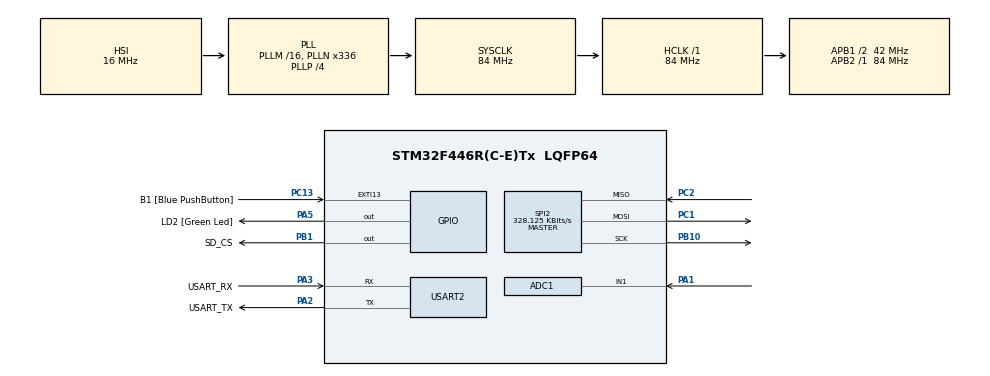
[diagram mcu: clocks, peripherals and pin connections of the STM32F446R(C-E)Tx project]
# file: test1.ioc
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ADC1.Channel-3\#ChannelRegularConversion=ADC_CHANNEL_1
ADC1.ContinuousConvMode=DISABLE
ADC1.DMAContinuousRequests=ENABLE
ADC1.ExternalTrigConv=ADC_EXTERNALTRIGCONV_T2_TRGO
ADC1.NbrOfConversionFlag=1
ADC1.Rank-3\#ChannelRegularConversion=1
ADC1.SamplingTime-3\#ChannelRegularConversion=ADC_SAMPLETIME_3CYCLES
ADC1.ScanConvMode=ENABLE
ADC1.master=1
Dma.ADC1.0.Direction=DMA_PERIPH_TO_MEMORY
Dma.ADC1.0.FIFOMode=DMA_FIFOMODE_DISABLE
Dma.ADC1.0.Instance=DMA2_Stream0
Dma.ADC1.0.MemDataAlignment=DMA_MDATAALIGN_HALFWORD
Dma.ADC1.0.MemInc=DMA_MINC_ENABLE
Dma.ADC1.0.Mode=DMA_CIRCULAR
Dma.ADC1.0.PeriphDataAlignment=DMA_PDATAALIGN_HALFWORD
Dma.ADC1.0.PeriphInc=DMA_PINC_DISABLE
Dma.ADC1.0.Priority=DMA_PRIORITY_LOW
Dma.Request0=ADC1
Mcu.Family=STM32F4
Mcu.Name=STM32F446R(C-E)Tx
Mcu.Package=LQFP64
NVIC.DMA2_Stream0_IRQn=true\:0\:0\:false\:false\:true\:false\:true\:true
NVIC.PriorityGroup=NVIC_PRIORITYGROUP_0
NVIC.USART2_IRQn=true\:0\:0\:false\:false\:true\:true\:true\:true
PA1.Signal=ADCx_IN1
PA13.GPIO_Label=TMS
PA13.Mode=Serial_Wire
PA13.Signal=SYS_JTMS-SWDIO
PA14.GPIO_Label=TCK
PA14.Mode=Serial_Wire
PA14.Signal=SYS_JTCK-SWCLK
PA2.GPIO_Label=USART_TX
PA2.Mode=Asynchronous
PA2.Signal=USART2_TX
PA3.GPIO_Label=USART_RX
PA3.Mode=Asynchronous
PA3.Signal=USART2_RX
PA5.GPIO_Label=LD2 [Green Led]
PA5.Signal=GPIO_Output
PB1.GPIO_Label=SD_CS
PB1.Signal=GPIO_Output
PB10.Mode=Full_Duplex_Master
PB10.Signal=SPI2_SCK
PB3.GPIO_Label=SWO
PB3.Signal=SYS_JTDO-SWO
PC1.Mode=Full_Duplex_Master
PC1.Signal=SPI2_MOSI
PC13.GPIO_Label=B1 [Blue PushButton]
PC13.GPIO_ModeDefaultEXTI=GPIO_MODE_IT_FALLING
PC13.Signal=GPXTI13
PC14-OSC32_IN.Mode=LSE-External-Oscillator
PC14-OSC32_IN.Signal=RCC_OSC32_IN
PC15-OSC32_OUT.Mode=LSE-External-Oscillator
PC15-OSC32_OUT.Signal=RCC_OSC32_OUT
PC2.Mode=Full_Duplex_Master
PC2.Signal=SPI2_MISO
PH0-OSC_IN.Mode=HSE-External-Oscillator
PH0-OSC_IN.Signal=RCC_OSC_IN
PH1-OSC_OUT.Mode=HSE-External-Oscillator
PH1-OSC_OUT.Signal=RCC_OSC_OUT
ProjectManager.HeapSize=0x200
ProjectManager.StackSize=0x400
ProjectManager.TargetToolchain=STM32CubeIDE
RCC.48MHZClocksFreq_Value=84000000
RCC.AHBFreq_Value=84000000
RCC.APB1CLKDivider=RCC_HCLK_DIV2
RCC.APB1Freq_Value=42000000
RCC.APB1TimFreq_Value=84000000
RCC.APB2Freq_Value=84000000
RCC.APB2TimFreq_Value=84000000
RCC.CortexFreq_Value=84000000
RCC.FLatency-AdvancedSettings=FLASH_LATENCY_2
RCC.HCLKFreq_Value=84000000
RCC.HSE_VALUE=8000000
RCC.HSI_VALUE=16000000
RCC.PLLN=336
RCC.PLLP=RCC_PLLP_DIV4
RCC.SYSCLKFreq_VALUE=84000000
RCC.SYSCLKSource=RCC_SYSCLKSOURCE_PLLCLK
RCC.USBFreq_Value=168000000
RCC.VCOOutputFreq_Value=336000000
SH.ADCx_IN1.0=ADC1_IN1,IN1
SPI2.BaudRatePrescaler=SPI_BAUDRATEPRESCALER_128
SPI2.CalculateBaudRate=328.125 KBits/s
SPI2.Direction=SPI_DIRECTION_2LINES
SPI2.Mode=SPI_MODE_MASTER
SPI2.VirtualType=VM_MASTER
TIM2.AutoReloadPreload=TIM_AUTORELOAD_PRELOAD_ENABLE
TIM2.Period=10499
TIM2.TIM_MasterOutputTrigger=TIM_TRGO_UPDATE
USART2.VirtualMode=VM_ASYNC
VP_FATFS_VS_Generic.Mode=User_defined
VP_TIM2_VS_ClockSourceINT.Mode=Internal
board=NUCLEO-F446RE

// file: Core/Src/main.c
/* USER CODE BEGIN Header */
/**
  ******************************************************************************
  * @file           : main.c
  * @brief          : Main program body
  ******************************************************************************
  * @attention
  *
  * Copyright (c) 2024 STMicroelectronics.
  * Copyright (c) 2025 Mateusz Mroczkowski
  * All rights reserved.
  *
  * This software is licensed under terms that can be found in the LICENSE file
  * in the root directory of this software component.
  * If no LICENSE file comes with this software, it is provided AS-IS.
  *
  ******************************************************************************
  */
/* USER CODE END Header */
#include "main.h"
#include "fatfs.h"

/* USER CODE BEGIN Includes */
#include <string.h>
#include <stdio.h>
#include <stdarg.h>
#include <stdlib.h>
#include <inttypes.h>
/* USER CODE END Includes */

/* USER CODE BEGIN PD */
#define USART_TX_BUFFER_SIZE 1512
#define USART_RX_BUFFER_SIZE 533
#define FRAME_START_CHAR ':'
#define FRAME_END_CHAR ';'
#define FRAME_MAX_LENGTH 271
#define FRAME_ESCAPED_MAX_LENGTH 533
#define FRAME_FIXED_SIZE 15
#define SENDER_LENGTH 3
#define RECEIVER_LENGTH 3
#define CMD_LENGTH_DIGITS 3
#define CRC_LENGTH 4
#define DEVICE_ID "STM"
#define TERMINAL "TERM"

#define ADC_BUFFER_SIZE 1000
#define ADC_HALF_BUFFER_SIZE (ADC_BUFFER_SIZE/2)
/* USER CODE END PD */

ADC_HandleTypeDef hadc1;
DMA_HandleTypeDef hdma_adc1;

SPI_HandleTypeDef hspi2;

TIM_HandleTypeDef htim2;

UART_HandleTypeDef huart2;

/* USER CODE BEGIN PV */
uint8_t usartTransmitBuffer[USART_TX_BUFFER_SIZE];  // Bufor do wysyłania
volatile uint16_t usartTransmitWriteIndex;  // Gdzie zapisujemy nowe dane do wysłania
volatile uint16_t usartTransmitReadIndex;   // Skąd odczytujemy dane do wysłania

uint8_t usartReceiveBuffer[USART_RX_BUFFER_SIZE];  // Bufor na odebrane dane
volatile uint16_t usartReceiveWriteIndex;  // Gdzie zapisujemy odebrane dane
volatile uint16_t usartReceiveReadIndex;   // Skąd odczytujemy odebrane dane

uint16_t adcBuffer[ADC_BUFFER_SIZE];  // Bufor na dane z ADC
volatile uint8_t adcBufferHalfReady = 0;  // Flaga pierwszej połowy bufora
volatile uint8_t adcBufferFullReady = 0;  // Flaga drugiej połowy bufora

FATFS FatFs;  // struktura do systemu plików FAT
FIL fil;      // do operacji na pojedynczych plikach
FRESULT fres; // do wyników operacji

volatile uint8_t fileOpenForWrite = 0;  // flaga pokazująca czy plik jest otwarty do zapisywania
FIL writeFile;                          // do operacji zapisu
/* USER CODE END PV */

void SystemClock_Config(void);
static void MX_GPIO_Init(void);
static void MX_DMA_Init(void);
static void MX_USART2_UART_Init(void);
static void MX_ADC1_Init(void);
static void MX_TIM2_Init(void);
static void MX_SPI2_Init(void);
/* USER CODE BEGIN PFP */
uint16_t calculateCRC16(const char* data, uint16_t length);
void sendFormattedUsart(char* format, ...);
uint16_t addEscapedChar(char* buffer, uint16_t position, char character);
void sendFrameResponse(const char* data, uint16_t dataLength, const char* receiver);
uint16_t calculateMaxEscapedLength(const char* data, uint16_t dataLength, const char* sender, const char* receiver);
void handleGetCommand(const char* sender);
uint8_t checkAndAddToBuffer(uint8_t* buffer, uint16_t* index, uint8_t* frameFound, uint8_t data);
uint8_t isValidName(const char* name);
void handleShowStatus(const char* sender);
void handleListCommand(const char* data, uint16_t dataLen, const char* sender);
void handleMkdirCommand(const char* data, uint16_t dataLen, const char* sender);
uint16_t convertCmdLength(const char* lengthStr);
void handleRemoveCommand(const char* data, uint16_t dataLen, const char* sender);
void handleMkfileCommand(const char* data, uint16_t dataLen, const char* sender);
void handleReadCommand(const char* data, uint16_t dataLen, const char* sender);
void handleWriteCommand(const char* data, uint16_t dataLen, const char* sender);
void handleSendCommand(const char* data, uint16_t dataLen, const char* sender);
/* USER CODE END PFP */

/* USER CODE BEGIN 0 */

typedef struct {
    char sender[SENDER_LENGTH + 1];        // 3 chars + null terminator
    char receiver[RECEIVER_LENGTH + 1];    // 3 chars + null terminator
    char cmdLength[CMD_LENGTH_DIGITS + 1]; // 3 digits + null terminator
    char* data;                            // Dane (dynamicznie alokowany)
    char crc[CRC_LENGTH + 1];              // 4 hex + null terminator
} Frame;

void HAL_UART_TxCpltCallback(UART_HandleTypeDef *huart) {
	// Sprawdza czy przerwanie dotyczy właściwego UART-a
    if(huart == &huart2) {
    	// Sprawdzenie czy są dane do wysłania
    	// Jeśli indeksy są różne, oznacza to że w buforze są jeszcze dane do wysłania
        if(usartTransmitWriteIndex != usartTransmitReadIndex) {
        	// Pobranie następnego znaku
            uint8_t nextChar = usartTransmitBuffer[usartTransmitReadIndex];
            // Zwiększa indeks odczytu
            usartTransmitReadIndex++;
            // Jeśli indeks doszedł do końca bufora, wraca na początek
            if(usartTransmitReadIndex >= USART_TX_BUFFER_SIZE) {
                usartTransmitReadIndex = 0;
            }
            // Wysyłanie znaku
            HAL_UART_Transmit_IT(&huart2, &nextChar, 1);
        }
    }
}

void HAL_UART_RxCpltCallback(UART_HandleTypeDef *huart) {
	//Sprawdza czy przerwanie dotyczy właściwego UART-a
    if(huart == &huart2) {
    	// Zwiększa indeks zapisu dla kolejnego znaku
        usartReceiveWriteIndex++;
        // Jeśli indeks osiągnie koniec bufora, wraca na początek
        if(usartReceiveWriteIndex >= USART_RX_BUFFER_SIZE) {
            usartReceiveWriteIndex = 0;
        }
        // Uruchomienie odbioru następnego znaku
        HAL_UART_Receive_IT(&huart2, &usartReceiveBuffer[usartReceiveWriteIndex], 1);
    }
}

// Funkcja sprawdzająca czy w buforze odbiorczym (RX) są dostępne jakieś dane do odczytania:
uint8_t isUsartDataAvailable() {
    return (usartReceiveWriteIndex != usartReceiveReadIndex);
    // Zwraca 1 (true) gdy indeksy są różne - oznacza to że są nowe, nieodczytane dane w buforze
    // Zwraca 0 (false) gdy indeksy są równe - oznacza to że nie ma nowych danych
}

int16_t readUsartChar() {
    uint8_t receivedChar;
    if(isUsartDataAvailable()) {
    	// Odczytuje znak z bufora pod aktualnym indeksem odczytu
        receivedChar = usartReceiveBuffer[usartReceiveReadIndex];
        // Zwiększa indeks odczytu
        usartReceiveReadIndex++;
        // Jeśli indeks doszedł do końca bufora, wraca na początek
        if(usartReceiveReadIndex >= USART_RX_BUFFER_SIZE) {
            usartReceiveReadIndex = 0;
        }
        return receivedChar;
    }
    // Jeśli nie ma danych do odczytu, zwraca -1, sygnalizuje brak danych
    return -1;
}

// static zachowuje wartość między wywołaniami funkcji, Zmienna jest inicjalizowana tylko raz

uint16_t readUsartLine(char *outputBuffer) {
    static uint8_t lineBuffer[FRAME_MAX_LENGTH];
    static uint16_t bufferIndex = 0;
    static uint8_t frameStartFound = 0;
    static uint8_t escapeNext = 0;

    while(isUsartDataAvailable()) {
        int16_t receivedChar = readUsartChar();

        // Zawsze sprawdzamy początek ramki
        if(receivedChar == FRAME_START_CHAR) {
            bufferIndex = 0;
            frameStartFound = 1;
            escapeNext = 0;
            if(checkAndAddToBuffer(lineBuffer, &bufferIndex, &frameStartFound, receivedChar)) continue;
            continue;
        }

        if(!frameStartFound) {
            continue;
        }

        // Obsługa escape
        if(escapeNext) {
            char actualChar;
            switch(receivedChar) {
                case '1': actualChar = ':'; break;
                case '2': actualChar = ';'; break;
                case '3': actualChar = '/'; break;
                default:
                    frameStartFound = 0;  // Nieprawidłowa sekwencja escape
                    escapeNext = 0;
                    continue;
            }
            if(checkAndAddToBuffer(lineBuffer, &bufferIndex, &frameStartFound, actualChar)) continue;
            escapeNext = 0;
            continue;
        }

        if(receivedChar == '/') {
            escapeNext = 1;
            continue;
        }

        if(checkAndAddToBuffer(lineBuffer, &bufferIndex, &frameStartFound, receivedChar)) continue;

        if(receivedChar == FRAME_END_CHAR) {
            for(uint16_t i = 0; i < bufferIndex; i++) {
                outputBuffer[i] = lineBuffer[i];
            }
            uint16_t frameLength = bufferIndex;
            bufferIndex = 0;
            frameStartFound = 0;
            escapeNext = 0;
            return frameLength;
        }
    }

    return 0;
}

uint8_t checkAndAddToBuffer(uint8_t* buffer, uint16_t* index, uint8_t* frameFound, uint8_t data) {
    buffer[(*index)++] = data;
    if(*index >= FRAME_MAX_LENGTH) {
        *index = 0;
        *frameFound = 0;
        sendFrameResponse("\r\nERR: Buffer overflow\r\n", 24, TERMINAL);
        return 1;
    }
    return 0;
}

// Służy do formatowania i wysyłania danych przez UART, ... oznacza że funkcja może przyjąć zmienną liczbę argumentów
void sendFormattedUsart(char* format, ...) {
	// Tymczasowa tablica do przechowania
    char tempString[USART_TX_BUFFER_SIZE];
    uint16_t i;
    __IO uint16_t writeIndex;
    va_list arguments;
    uint16_t stringLength;

    // Inicjalizuje listę argumentów
    va_start(arguments, format);
    // Formatuje tekst według zadanego formatu i zapisuje go do tempString,
    // vsprintf zwraca liczbę zapisanych znaków (bez null terminatora)
    stringLength = vsprintf(tempString, format, arguments);
    // Kończy pracę z listą argumentów
    va_end(arguments);

    writeIndex = usartTransmitWriteIndex;

    // Kopiuje sformatowany tekst znak po znaku do bufora cyklicznego usartTransmitBuffer
    for(i = 0; i < stringLength; i++) {
        usartTransmitBuffer[writeIndex] = tempString[i];
        writeIndex++;
        // Jeśli dojdzie do końca bufora, wraca na początek
        if(writeIndex >= USART_TX_BUFFER_SIZE) {
            writeIndex = 0;
        }
    }
    // Wyłącza przerwania
    __disable_irq();

    // UART_FLAG_TXE oznacza UART Transmit Data Register Empty
    // Warunek sprawdza czy rejestr wysyłania jest pusty, nie wysyła aktualnie danych i jest gotowy do wysyłania
    if((usartTransmitWriteIndex == usartTransmitReadIndex) &&
       (__HAL_UART_GET_FLAG(&huart2, UART_FLAG_TXE) == SET)) {
    	// Aktualizuje główny indeks zapisu nowymi danymi
        usartTransmitWriteIndex = writeIndex;
        // Pobiera pierwszy znak do wysłania
        uint8_t nextChar = usartTransmitBuffer[usartTransmitReadIndex];
        // Przesuwa indeks odczytu na następną pozycję
        usartTransmitReadIndex++;
        // Sprawdza czy indeks nie przekroczył rozmiaru bufora
        if(usartTransmitReadIndex >= USART_TX_BUFFER_SIZE) {
            usartTransmitReadIndex = 0;
        }
        // Rozpoczyna transmisję pierwszego znaku
        HAL_UART_Transmit_IT(&huart2, &nextChar, 1);
    } else {
    	 // Jeśli transmisja jest w toku lub UART nie jest gotowy, tylko aktualizuje indeks zapisu
        usartTransmitWriteIndex = writeIndex;
    }
    // Włącza z powrotem przerwania po zakończeniu operacji na współdzielonych zmiennych
    __enable_irq();
}

// const jest używane w tej funkcji do ochrony danych przed modyfikacją, można zmienić na co wskazuje ale nie zawartość

uint8_t parseFrame(const char* inputBuffer, uint16_t bufferLength, Frame* frame) {
	uint16_t i;
    const char* frameStart = NULL;  // wskazniki na znaki
    const char* frameEnd = NULL;
    uint16_t dataOffset;
    uint16_t dataLength;
    char frameWithoutCRC[FRAME_MAX_LENGTH];  // Tymczasowy bufor na ramkę bez CRC

    frameStart = &inputBuffer[0];  // Wiemy że to jest ':'
    frameEnd = &inputBuffer[bufferLength - 1];  // Wiemy że to jest ';'

    // Sprawdzenie czy ramka nie jest za długa
    if(bufferLength > FRAME_MAX_LENGTH) {
    	sendFrameResponse("\r\nERR: Frame too long\r\n", 23, TERMINAL);
        return 0;
    }

    // Sprawdzenie minimalnej długości (znak początku + nadawca + odbiorca + długość + CRC + znak końca)
    if(bufferLength < (1 + SENDER_LENGTH + RECEIVER_LENGTH + CMD_LENGTH_DIGITS + CRC_LENGTH + 1)) {
    	sendFrameResponse("\r\nERR: Frame too short\r\n", 24, TERMINAL);
        return 0;
    }

    // Wydobycie crc, zapis do frame, kopiujemy od konca -4, 4 bajty
    memcpy(frame->crc, frameEnd - CRC_LENGTH, CRC_LENGTH);
    frame->crc[CRC_LENGTH] = '\0';

    // Konwersja crc, |= or
    uint16_t receivedCRC = 0;
    for(i = 0; i < CRC_LENGTH; i++) {
        receivedCRC <<= CRC_LENGTH; // przesunięcie o 4 w lewo
        if(frame->crc[i] >= '0' && frame->crc[i] <= '9') {
            receivedCRC |= frame->crc[i] - '0'; // np. 2  czyli 50 - 48 = 2, 0010
        } else if(frame->crc[i] >= 'A' && frame->crc[i] <= 'F') {
            receivedCRC |= frame->crc[i] - 'A' + 10; // np. B czyli 66 - 65 + 10 = 11, 1011
        } else {
        	sendFrameResponse("\r\nERR: CRC conversion\r\n", 23, TERMINAL);
            return 0;
        }
    }

    // Oblicz CRC (bez pola CRC)
    uint16_t dataForCRC = frameEnd - frameStart - CRC_LENGTH;  // odleglosc miedzy wskaznikami, oraz -4
    memcpy(frameWithoutCRC, frameStart, dataForCRC);
    uint16_t calculatedCRC = calculateCRC16(frameWithoutCRC, dataForCRC);

    // Porownanie CRC
    if(calculatedCRC != receivedCRC) {
    	sendFrameResponse("\r\nERR: CRC is wrong\r\n", 21, TERMINAL);
        return 0;
    }

    // Przesunięcie wskaźnika za znak rozpoczynający
    frameStart++;

    // Ekstrakcja nadawcy
    memcpy(frame->sender, frameStart, SENDER_LENGTH);
    frame->sender[SENDER_LENGTH] = '\0';

    // Ekstrakcja odbiorcy
    memcpy(frame->receiver, frameStart + SENDER_LENGTH, RECEIVER_LENGTH);
    frame->receiver[RECEIVER_LENGTH] = '\0';

    // Sprawdzenie czy jesteśmy odbiorcą, zwraca 0 gdy sa takie same, (!=)
    if(memcmp(frame->receiver, DEVICE_ID, RECEIVER_LENGTH) != 0) {
    	sendFrameResponse("\r\nERR: Invalid receiver\r\n", 25, TERMINAL);
        return 0;
    }

    // Ekstrakcja długości komendy podanej przez użytkownika
    memcpy(frame->cmdLength, frameStart + SENDER_LENGTH + RECEIVER_LENGTH, CMD_LENGTH_DIGITS);
    frame->cmdLength[CMD_LENGTH_DIGITS] = '\0';

	// declaredDataLength = 0
	// sprawdź czy '1' jest cyfrą (jest między '0' a '9')
	// '1' - '0' = 1 (ASCII 49 - 48 = 1)
	// declaredDataLength = 0 * 10 + 1 = 1

    // Konwersja długości komendy podanej przez użytkownika na int
    uint16_t declaredDataLength = 0;
    for(i = 0; i < CMD_LENGTH_DIGITS; i++) {
        if(frame->cmdLength[i] < '0' || frame->cmdLength[i] > '9') {
        	sendFrameResponse("\r\nERR: Invalid command length format\r\n", 38, TERMINAL);
            return 0;
        }
        declaredDataLength = declaredDataLength * 10 + (frame->cmdLength[i] - '0');
    }

    // sprawdzenie dlugosci komendy podanej przez użytkownika
    if(declaredDataLength <= 0 || declaredDataLength > 256) {
    	sendFrameResponse("\r\nERR: Invalid command length\r\n", 31, TERMINAL);
        return 0;
    }

    // Oblicz pozycję początku danych i ich długość

    // wskazuje, że dane zaczynają się po 9 znakach od początku (po ':')
    dataOffset = SENDER_LENGTH + RECEIVER_LENGTH + CMD_LENGTH_DIGITS;
    dataLength = frameEnd - (frameStart + dataOffset) - CRC_LENGTH;  // -4

    // Sprawdzenie zgodności długości
    if(dataLength != declaredDataLength) {
    	sendFrameResponse("\r\nERR: Length mismatch\r\n", 24, TERMINAL);
        return 0;
    }

    // malloc() dynamicznie przydziela pamięć o rozmiarze cmdLen + 1 bajtów
	// +1 jest dodane aby zmieścić znak końca stringa '\0'
	// Zwraca wskaźnik do zaalokowanej pamięci
	// (char*) to rzutowanie (casting) zwróconego wskaźnika na typ char*
	// bo malloc zwraca ogólny wskaźnik void*
    // Jest to potrzebne bo frame->data jest zadeklarowane jako char*

    // Alokacja pamięci na dane
    frame->data = (char*)malloc(declaredDataLength + 1);
    // Sprawdza czy alokacja się udała, malloc() zwraca NULL jeśli nie może zaalokować pamięci
    if(!frame->data) {
    	sendFrameResponse("\r\nERR: Memory allocation failed\r\n", 33, TERMINAL);
        return 0;
    }

    // Kopiowanie danych
    memcpy(frame->data, frameStart + dataOffset, declaredDataLength);
    frame->data[declaredDataLength] = '\0';

    return 1;
}

void sendFrameResponse(const char* data, uint16_t dataLength, const char* receiver) {
    char escapedBuffer[FRAME_ESCAPED_MAX_LENGTH];  // bufor na dane escaped
    char unescapedBuffer[FRAME_MAX_LENGTH];    // bufor nie escaped do obliczenia crc
    uint16_t escapedLength = 0;
    uint16_t unescapedLength = 0;
    uint16_t i;

    uint16_t maxLength = calculateMaxEscapedLength(data, dataLength, DEVICE_ID, receiver);
    if(maxLength > FRAME_ESCAPED_MAX_LENGTH) {
        return;
    }

    // Start character w obu buforach
    escapedBuffer[escapedLength++] = FRAME_START_CHAR;
    unescapedBuffer[unescapedLength++] = FRAME_START_CHAR;

    // dodaj sender (DEVICE_ID)
	for(i = 0; i < SENDER_LENGTH; i++) {
		escapedLength = addEscapedChar(escapedBuffer, escapedLength, DEVICE_ID[i]);
		unescapedBuffer[unescapedLength++] = DEVICE_ID[i];
	}

	// dodaj receiver
	for(i = 0; i < RECEIVER_LENGTH; i++) {
		escapedLength = addEscapedChar(escapedBuffer, escapedLength, receiver[i]);
		unescapedBuffer[unescapedLength++] = receiver[i];
	}

    // makro zdefiniowane w nagłówku <inttypes.h>, które służy do zapewnienia przenośnego i bezpiecznego
    // formatowania liczb całkowitych o stałej szerokości, w tym przypadku typu uint16_t

	// %03 wymusza 3 cyfry z wiodącymi zerami

    // dodaj data length
    char lengthStr[4];
    snprintf(lengthStr, 4, "%03" PRIu16, dataLength);
    memcpy(escapedBuffer + escapedLength, lengthStr, 3);
    memcpy(unescapedBuffer + unescapedLength, lengthStr, 3);

    escapedLength += CMD_LENGTH_DIGITS;
    unescapedLength += CMD_LENGTH_DIGITS;

    // dodaj dane
	for(i = 0; i < dataLength; i++) {
		escapedLength = addEscapedChar(escapedBuffer, escapedLength, data[i]);
		unescapedBuffer[unescapedLength++] = data[i];
	}

    // oblicz CRC z unescaped buffer
    uint16_t crc = calculateCRC16(unescapedBuffer, unescapedLength);

    // dodaj crc
    snprintf(escapedBuffer + escapedLength, 5, "%04X", crc);
    escapedLength += CRC_LENGTH;

    // dodaj end character
    escapedBuffer[escapedLength++] = FRAME_END_CHAR;
    escapedBuffer[escapedLength] = '\0';

    sendFormattedUsart("%s", escapedBuffer);
}

uint16_t calculateMaxEscapedLength(const char* data, uint16_t dataLength, const char* sender, const char* receiver) {
    uint16_t maxLength = 1; // znak początku

    // sender
    for(uint8_t i = 0; i < SENDER_LENGTH; i++) {
        if(sender[i] == ':' || sender[i] == ';' || sender[i] == '/') {
            maxLength += 2;
        } else {
            maxLength += 1;
        }
    }

    // receiver
    for(uint8_t i = 0; i < RECEIVER_LENGTH; i++) {
        if(receiver[i] == ':' || receiver[i] == ';' || receiver[i] == '/') {
            maxLength += 2;
        } else {
            maxLength += 1;
        }
    }

    // command length
    maxLength += CMD_LENGTH_DIGITS;

    // data
    for(uint16_t i = 0; i < dataLength; i++) {
        if(data[i] == ':' || data[i] == ';' || data[i] == '/') {
            maxLength += 2;
        } else {
            maxLength += 1;
        }
    }

    // CRC
    maxLength += CRC_LENGTH;

    // znak konca
    maxLength += 1;

    return maxLength;
}

// Funkcja do dodawania znaków z escape
uint16_t addEscapedChar(char* buffer, uint16_t position, char character) {
    if(character == ':') {
        buffer[position++] = '/';
        buffer[position++] = '1';
    }
    else if(character == ';') {
        buffer[position++] = '/';
        buffer[position++] = '2';
    }
    else if(character == '/') {
        buffer[position++] = '/';
        buffer[position++] = '3';
    }
    else {
        buffer[position++] = character;
    }
    return position;
}

void processReceivedLine(char* inputBuffer, uint16_t bufferLength) {
	// utworzenie zmiennej frame
    Frame frame;

    //  wywołuje funkcję parseFrame
    //  &frame - adres utworzonej wcześniej struktury frame (gdzie zostaną zapisane sparsowane dane)
    if(!parseFrame(inputBuffer, bufferLength, &frame)) {
        return;
    }

    if(memcmp(frame.data, "led", 3) == 0) {
        HAL_GPIO_TogglePin(LD2_GPIO_Port, LD2_Pin);
        sendFrameResponse("LED state changed!", 18, frame.sender);
    }
    else if(memcmp(frame.data, "state", 5) == 0) {

    	// '0' w ASCII to 48
    	// Więc jeśli dioda wyłączona (0): 48 + 0 = 48 ('0')
    	// Jeśli dioda włączona (1): 48 + 1 = 49 ('1')
    	// Ten znak zastępuje '0' na pozycji msg[6]

    	char msg[] = "\r\nLED 0\r\n";
    	msg[6] = '0' + HAL_GPIO_ReadPin(LD2_GPIO_Port, LD2_Pin);
    	sendFrameResponse(msg, 9, frame.sender);
    }
    else if(memcmp(frame.data, "get", 3) == 0) {
        handleGetCommand(frame.sender);
    }
    else if(memcmp(frame.data, "status", 6) == 0) {
        handleShowStatus(frame.sender);
    }
    else if(memcmp(frame.data, "ls", 2) == 0) {
    	handleListCommand(frame.data, convertCmdLength(frame.cmdLength), frame.sender);
    }
    else if(memcmp(frame.data, "mkdir", 5) == 0) {
    	handleMkdirCommand(frame.data, convertCmdLength(frame.cmdLength), frame.sender);
    }
    else if(memcmp(frame.data, "rm", 2) == 0) {
        handleRemoveCommand(frame.data, convertCmdLength(frame.cmdLength), frame.sender);
    }
    else if(memcmp(frame.data, "mkfile", 6) == 0) {
        handleMkfileCommand(frame.data, convertCmdLength(frame.cmdLength), frame.sender);
    }
    else if(memcmp(frame.data, "read", 4) == 0) {
        handleReadCommand(frame.data, convertCmdLength(frame.cmdLength), frame.sender);
    }
    else if(memcmp(frame.data, "write", 5) == 0) {
		handleWriteCommand(frame.data, convertCmdLength(frame.cmdLength), frame.sender);
	}
	else if(memcmp(frame.data, "send", 4) == 0) {
		handleSendCommand(frame.data, convertCmdLength(frame.cmdLength), frame.sender);
	}
    else {
    	sendFrameResponse("\r\nERR: Command error\r\n", 22, frame.sender);
    }

    if(frame.data) {
    	// Zwalnia zaalokowana pamiec dla danych
        free(frame.data);
    }
}

uint16_t calculateCRC16(const char* data, uint16_t length) {
    uint16_t crc = 0xFFFF;  // Wartość początkowa
    uint16_t poly = 0x1021; // Wielomian generujący x^16 + x^12 + x^5 + 1 czyli (ukryte 1) 0001 0000 0010 0001

    // data[i] - pobiera aktualny znak
    // (uint16_t)data[i] - konwertuje znak na 16-bitową wartość
    // << 8 - przesuwa wartość o 8 bitów w lewo (do górnego bajtu)
    // ^= - wykonuje operację XOR z aktualną wartością CRC ( 1 gdy 0,1 lub 1,0)

    // Przechodzi przez każdy znak w danych wejściowych
    for (uint16_t i = 0; i < length; i++) {
        crc ^= ((uint16_t)data[i] << 8); // Przesuń bajt danych do górnego bajtu

        // Wykonuje się 8 razy dla każdego bajtu
        // crc & 0x8000 - sprawdza najstarszy bit (MSB) rejestru CRC (operacja AND)
        // 0x8000 = 1000 0000 0000 0000 w binarnym

        // Jeśli MSB = 1
        // Przesuwa CRC o 1 bit w lewo
        // Wykonuje XOR z wielomianem (poly)

        // Jeśli MSB = 0
        // Tylko przesuwa CRC o 1 bit w lewo

        for (uint8_t j = 0; j < 8; j++) {
        	// Operacja AND (&) z maską 0x8000, sprawdza czy 1 czy 0
            if (crc & 0x8000) {
                crc = (crc << 1) ^ poly;
            } else {
                crc <<= 1;
            }
        }
    }

    return crc;
}

void HAL_ADC_ConvHalfCpltCallback(ADC_HandleTypeDef* hadc)
{
    if(hadc == &hadc1)
    {
        adcBufferHalfReady = 1;
        adcBufferFullReady = 0;  // Zeruj drugą flagę, bo teraz pierwsza połowa jest nowsza
    }
}

void HAL_ADC_ConvCpltCallback(ADC_HandleTypeDef* hadc)
{
    if(hadc == &hadc1)
    {
    	adcBufferHalfReady = 0; // Zeruj pierwszą flagę, bo teraz druga połowa jest nowsza
        adcBufferFullReady = 1;

        // Ponowne uruchomienie DMA po zakończeniu konwersji
		HAL_ADC_Start_DMA(&hadc1, (uint32_t*)adcBuffer, ADC_BUFFER_SIZE);
    }
}

// konwertuje ciąg znaków (string) reprezentujący długość komendy na liczbę całkowitą
uint16_t convertCmdLength(const char* lengthStr) {
    uint16_t length = 0;
    for(int i = 0; i < 3; i++) {
        if(lengthStr[i] >= '0' && lengthStr[i] <= '9') {
            length = length * 10 + (lengthStr[i] - '0');
        }
    }
    return length;
}

// Funkcja do obsługi komendy 'get' dla ADC
void handleGetCommand(const char* sender) {
    char response[24];
    uint16_t adcValue;

    // Pobieramy wartość ADC
    if(adcBufferFullReady) {
        adcValue = adcBuffer[ADC_BUFFER_SIZE - 1];
    }
    else if(adcBufferHalfReady) {
        adcValue = adcBuffer[ADC_HALF_BUFFER_SIZE - 1];
    }
    else {
        adcValue = adcBuffer[0];
    }

    // Konwertujemy 12-bitową wartość ADC (0-4095) na 2 znaki ASCII
    char firstChar = (adcValue >> 6) & 0x3F;  // Bierzemy górne 6 bitów
    char secondChar = adcValue & 0x3F;        // Bierzemy dolne 6 bitów

    // Konwertujemy wartości 0-63 na znaki ASCII (64 możliwe wartości)
    firstChar += 0x20;   // 0x20 to spacja w ASCII, daje nam zakres od spacji do '?'
    secondChar += 0x20;

    // Tworzymy odpowiedź z 2 zakodowanymi znakami
    uint8_t responseLen = snprintf(response, sizeof(response), "\r\nSensor level - [%c%c]\r\n", firstChar, secondChar);
    sendFrameResponse(response, responseLen, sender);
}

void handleShowStatus(const char* sender) {
    FATFS* fs;                       // Wskaźnik do struktury zawierającej informacje o systemie plików
    DWORD fre_clust, total_sectors, free_sectors;  // Zmienne 32-bitowe na dane o przestrzeni
    char responseBuffer[80];        // Bufor na sformatowaną odpowiedź
    uint16_t responseLen;            // Długość odpowiedzi

    // Montowanie systemu plików
    // Pusty string "" oznacza domyślny wolumin
    // 1 oznacza natychmiastowe montowanie
    // Jeśli wystąpi błąd, wysyła komunikat o błędzie i kończy działanie
    if(f_mount(&FatFs, "", 1) != FR_OK) {
        sendFrameResponse("\r\nError mounting filesystem\r\n", 28, sender);
        return;
    }

    // Pobieranie informacji o wolumenie (przestrzeni dyskowej)
    // f_getfree pobiera informacje o wolnej przestrzeni
    // Zapisuje liczbę wolnych klastrów do fre_clust
    // Aktualizuje wskaźnik fs informacjami o systemie plików
    if(f_getfree("", &fre_clust, &fs) != FR_OK) {
        sendFrameResponse("\r\nError getting volume info\r\n", 27, sender);
        f_mount(NULL, "", 0);  // Odmontowuje system plików przed wyjściem
        return;
    }

    // Obliczanie całkowitej i wolnej przestrzeni
    // n_fatent - 2 to liczba dostępnych klastrów (odejmujemy 2 zarezerwowane klastry)
    // csize to liczba sektorów na klaster
    total_sectors = (fs->n_fatent - 2) * fs->csize;
    free_sectors = fre_clust * fs->csize;

    // Formatowanie odpowiedzi
    // Dzieli wartości przez 2 aby przekonwertować sektory (512B) na KB
    responseLen = snprintf(responseBuffer, sizeof(responseBuffer),
        "\r\nSD Card Status\r\n"
        "Total space - %lu KB\r\n"
        "Free space - %lu KB\r\n",
        total_sectors / 2,
        free_sectors / 2);

    // Wysyłanie odpowiedzi
    sendFrameResponse(responseBuffer, responseLen, sender);

    // Odmontowanie systemu plików
    f_mount(NULL, "", 0);
}

void handleListCommand(const char* data, uint16_t dataLen, const char* sender) {
    DIR dir;                          // Struktura katalogu
    FILINFO fno;                      // Informacje o pliku/katalogu
    char responseBuffer[256];         // Bufor na odpowiedź
    uint16_t responseLen = 0;         // Długość odpowiedzi
    const char* path;                 // Ścieżka do katalogu
    const char* header = "\r\nDirectory listing -";
    const uint16_t maxDataLength = 256; // Maksymalna długość danych w ramce

    // Sprawdza czy komenda zawiera ścieżkę (np. "ls /folder")
    if(dataLen > 3 && memcmp(data, "ls ", 3) == 0) {
        path = data + 3;              // Jeśli tak, używa podanej ścieżki
    } else {
        path = "/";                   // Jeśli nie, używa katalogu głównego
    }

    // Montuje system plików
    if(f_mount(&FatFs, "", 1) != FR_OK) {
        sendFrameResponse("\r\nError mounting filesystem\r\n", 28, sender);
        return;
    }

    // Otwiera katalog o podanej ścieżce
    if(f_opendir(&dir, path) != FR_OK) {
        sendFrameResponse("\r\nError opening directory\r\n", 27, sender);
        f_mount(NULL, "", 0);
        return;
    }

    // Inicjalizuje pierwszy bufor odpowiedzi z nagłówkiem i ścieżką
    responseLen = snprintf(responseBuffer, sizeof(responseBuffer),
                          "%s %s", header, path);

    // Czyta zawartość katalogu
    while(f_readdir(&dir, &fno) == FR_OK && fno.fname[0] != 0) {
        // Pomija "." i ".."
        if(fno.fname[0] == '.') continue;

        // Oblicza długość następnej linii
        uint16_t lineLen = 2;  // poniewaz \r\n
        lineLen += strlen(fno.fname);
        if(fno.fattrib & AM_DIR) lineLen++; // '#' dla katalogów

        // Jeśli następna linia przekroczy limit, wyślij aktualny bufor i rozpocznij nowy
        if(responseLen + lineLen > maxDataLength) {
            // Wysyła aktualny bufor
            sendFrameResponse(responseBuffer, responseLen, sender);

            // Rozpoczyna nowy bufor z nagłówkiem
            responseLen = snprintf(responseBuffer, sizeof(responseBuffer),
                                 "%s %s", header, path);
        }

        //poczatek dokumentu + ile juz napisalismy

        // Dodaje nową linię
        responseLen += snprintf(responseBuffer + responseLen,  // to miejsce gdzie postawimy kursor aby pisać dalej
                              sizeof(responseBuffer) - responseLen, // ile miejsca zostało w buforze
                              "\r\n%s%s",
                              fno.fname,
                              (fno.fattrib & AM_DIR) ? "#" : "");
    }

    // Wysyła ostatni bufor jeśli zawiera dane
    if(responseLen > 0) {
        sendFrameResponse(responseBuffer, responseLen, sender);
    }

    // Zamyka katalog i odmontowuje system plików
    f_closedir(&dir);
    f_mount(NULL, "", 0);
}

void handleMkdirCommand(const char* data, uint16_t dataLen, const char* sender) {
    // Pomija prefiks "mkdir " (6 znaków)
    const char* dirName = data + 6;      // Przesuwa wskaźnik za "mkdir "
    uint16_t dirNameLen = dataLen - 6;   // Oblicza długość nazwy katalogu

    // Sprawdza czy podano nazwę katalogu
    if(dirNameLen == 0) {
        sendFrameResponse("\r\nError directory name not provided\r\n", 36, sender);
        return;
    }

    // Tworzy tymczasowy bufor na nazwę (z terminatorem null)
    char tempName[256];
    memcpy(tempName, dirName, dirNameLen);
    tempName[dirNameLen] = '\0';

    // Sprawdza poprawność nazwy
    if(!isValidName(tempName)) {
        sendFrameResponse("\r\nError: Invalid directory name\r\n", 31, sender);
        return;
    }

    // Montuje system plików
    if(f_mount(&FatFs, "", 1) != FR_OK) {
        sendFrameResponse("\r\nError mounting filesystem\r\n", 28, sender);
        return;
    }

    // Tworzy katalog
    FRESULT res = f_mkdir(dirName);

    // Obsługuje wynik operacji
    if(res == FR_OK) {
        sendFrameResponse("\r\nThe directory has been created\r\n", 33, sender);
    } else {
        sendFrameResponse("\r\nError creating directory\r\n", 27, sender);
    }

    // Odmontowuje system plików
    f_mount(NULL, "", 0);
}

void handleRemoveCommand(const char* data, uint16_t dataLen, const char* sender) {
    // Pomija prefiks "rm " (3 znaki)
    const char* path = data + 3;         // Przesuwa wskaźnik za "rm "
    uint16_t pathLen = dataLen - 3;      // Oblicza długość ścieżki

    // Sprawdza czy podano ścieżkę
    if(pathLen == 0) {
        sendFrameResponse("\r\nError: Path not provided\r\n", 28, sender);
        return;
    }

    // Montuje system plików
    if(f_mount(&FatFs, "", 1) != FR_OK) {
        sendFrameResponse("\r\nError mounting filesystem\r\n", 28, sender);
        return;
    }

    // Usuwa plik lub katalog
    FRESULT res = f_unlink(path);

    // Obsługuje wynik operacji, gdy w katalogu cos bedzie operacja tez sie nie powiedzie
    if(res == FR_OK) {
        sendFrameResponse("\r\nThe file or directory has been deleted\r\n", 41, sender);
    } else {
        sendFrameResponse("\r\nError deleting file or directory\r\n", 35, sender);
    }

    // Odmontowuje system plików
    f_mount(NULL, "", 0);
}

void handleMkfileCommand(const char* data, uint16_t dataLen, const char* sender) {
    // Pomija prefiks "mkfile " (7 znaków)
    const char* fileName = data + 7;      // Przesuwa wskaźnik za "mkfile "
    uint16_t fileNameLen = dataLen - 7;   // Oblicza długość nazwy pliku

    // Sprawdza czy podano nazwę pliku
    if(fileNameLen == 0) {
        sendFrameResponse("\r\nError: File name not provided\r\n", 33, sender);
        return;
    }

    // Tworzy tymczasowy bufor na nazwę (z terminatorem null)
    char tempName[256];
    memcpy(tempName, fileName, fileNameLen);
    tempName[fileNameLen] = '\0';

    // Sprawdza poprawność nazwy
    if(!isValidName(tempName)) {
        sendFrameResponse("\r\nError: Invalid file name\r\n", 28, sender);
        return;
    }

    // Montuje system plików
    if(f_mount(&FatFs, "", 1) != FR_OK) {
        sendFrameResponse("\r\nError mounting filesystem\r\n", 28, sender);
        return;
    }

    // FA_CREATE_ALWAYS - zawsze tworzy nowy plik (jeśli istnieje, zostanie nadpisany)
    // FA_WRITE - otwiera plik w trybie zapisu

    // Tworzy plik
    FIL file;
    FRESULT res = f_open(&file, fileName, FA_CREATE_ALWAYS | FA_WRITE);
    if(res == FR_OK) {
        f_close(&file);
        sendFrameResponse("\r\nThe file has been created\r\n", 29, sender);
    } else {
        sendFrameResponse("\r\nError creating file\r\n", 23, sender);
    }

    // Odmontowuje system plików
    f_mount(NULL, "", 0);
}

void handleReadCommand(const char* data, uint16_t dataLen, const char* sender) {
    // Pomija prefiks "read " (5 znaków)
    const char* fileName = data + 5;      // Przesuwa wskaźnik za "read "
    uint16_t fileNameLen = dataLen - 5;   // Oblicza długość nazwy pliku

    // Sprawdza czy podano nazwę pliku
    if(fileNameLen == 0) {
        sendFrameResponse("\r\nError: File name not provided\r\n", 33, sender);
        return;
    }

    // Montuje system plików
    if(f_mount(&FatFs, "", 1) != FR_OK) {
        sendFrameResponse("\r\nError mounting filesystem\r\n", 28, sender);
        return;
    }

    // Otwiera plik w trybie odczytu
    FIL file;
    FRESULT res = f_open(&file, fileName, FA_READ);
    if(res != FR_OK) {
        sendFrameResponse("\r\nError opening file\r\n", 22, sender);
        f_mount(NULL, "", 0);
        return;
    }

    // Pobiera rozmiar pliku
    FSIZE_t fileSize = f_size(&file);

    // Maksymalny rozmiar danych w jednej ramce (256 bajtów - maksymalna długość pola danych)
    const uint16_t maxDataPerFrame = 256;

    // Bufor na zawartość pliku
    char buffer[maxDataPerFrame];
    UINT bytesRead;
    FSIZE_t totalBytesRead = 0;

    // Czyta i wysyła plik w częściach
    while(totalBytesRead < fileSize) { // Pętla działa dopóki nie przeczytamy całego pliku
        // Sprawdza czy pozostała część pliku (fileSize - totalBytesRead) jest większa niż 256 bajtów (maxDataPerFrame)
    	// Jeśli TAK: czyta 256 bajtów
    	// Jeśli NIE: czyta tylko pozostałą część pliku
        UINT bytesToRead = (fileSize - totalBytesRead > maxDataPerFrame) ?
                          maxDataPerFrame : (UINT)(fileSize - totalBytesRead); // rzutowanie bo sa fsize

        // Czyta fragment pliku
        res = f_read(&file, buffer, bytesToRead, &bytesRead);
        if(res != FR_OK || bytesRead == 0) {
            sendFrameResponse("\r\nError reading file\r\n", 22, sender);
            break;
        }

        // Wysyła fragment pliku
        sendFrameResponse(buffer, bytesRead, sender);

        // Aktualizuje licznik przeczytanych bajtów
        totalBytesRead += bytesRead;
    }

    // Zamyka plik
    f_close(&file);

    // Odmontowuje system plików
    f_mount(NULL, "", 0);
}

void handleWriteCommand(const char* data, uint16_t dataLen, const char* sender) {
    // Pomija prefiks "write " (6 znaków)
    const char* fileName = data + 6;      // Przesuwa wskaźnik za "write "
    uint16_t fileNameLen = dataLen - 6;   // Oblicza długość nazwy pliku

    // Sprawdza czy podano nazwę pliku
    if(fileNameLen == 0) {
        sendFrameResponse("\r\nError: File name not provided\r\n", 33, sender);
        return;
    }

    // Sprawdza czy inny plik nie jest już otwarty do zapisu
    if(fileOpenForWrite) {
        sendFrameResponse("\r\nError: Another file is already open for writing\r\n", 49, sender);
        return;
    }

    // Montuje system plików
    if(f_mount(&FatFs, "", 1) != FR_OK) {
        sendFrameResponse("\r\nError mounting filesystem\r\n", 28, sender);
        return;
    }

    // Otwiera plik do zapisu
    FRESULT res = f_open(&writeFile, fileName, FA_WRITE | FA_CREATE_ALWAYS);
    if(res != FR_OK) {
        sendFrameResponse("\r\nError opening file for writing\r\n", 34, sender);
        f_mount(NULL, "", 0);
        return;
    }

    // Ustawia flagę wskazującą, że plik jest otwarty do zapisu
    fileOpenForWrite = 1;

    // Wysyła odpowiedź że jest gotowy na dane
    sendFrameResponse("\r\nFile is opened. Send data frame:\r\n", 35, sender);
}

void handleSendCommand(const char* data, uint16_t dataLen, const char* sender) {
    // Pomija prefiks "send " (5 znaków)
    const char* writeData = data + 5;      // Przesuwa wskaźnik za "send "
    uint16_t writeDataLen = dataLen - 5;   // Oblicza długość danych do zapisu

    // Sprawdza czy jakiś plik jest otwarty do zapisu
    if(!fileOpenForWrite) {
        sendFrameResponse("\r\nError: No file open for writing\r\n", 35, sender);
        return;
    }

    // Zapisuje dane do pliku
    UINT bytesWritten;
    FRESULT res = f_write(&writeFile, writeData, writeDataLen, &bytesWritten);

    // Zamyka plik
    f_close(&writeFile);
    fileOpenForWrite = 0;  // Zeruje flagę

    // Odmontowuje system plików
    f_mount(NULL, "", 0);

    // Sprawdza czy zapis się powiódł
    if(res != FR_OK || bytesWritten != writeDataLen) {
        sendFrameResponse("\r\nError writing to file\r\n", 24, sender);
    } else {
        sendFrameResponse("\r\nFile written successfully\r\n", 28, sender);
    }
}

// Funkcja sprawdzająca poprawność nazwy pliku/katalogu
uint8_t isValidName(const char* name) {
    // Sprawdzenie niedozwolonych znaków
    const char* invalidChars = "<>:\"/\\|?*";
    for(uint16_t i = 0; name[i] != '\0'; i++) {
        if(strchr(invalidChars, name[i]) != NULL) {
            return 0;
        }
    }
    return 1;
}
/* USER CODE END 0 */

int main(void)
{

  /* MCU Configuration--------------------------------------------------------*/

  /* Reset of all peripherals, Initializes the Flash interface and the Systick. */
  HAL_Init();

  /* Configure the system clock */
  SystemClock_Config();

  /* Initialize all configured peripherals */
  MX_GPIO_Init();
  MX_DMA_Init();
  MX_USART2_UART_Init();
  MX_ADC1_Init();
  MX_TIM2_Init();
  MX_SPI2_Init();
  MX_FATFS_Init();
  /* USER CODE BEGIN 2 */
  // Rozpoczęcie odbierania danych
  HAL_UART_Receive_IT(&huart2, &usartReceiveBuffer[0], 1);

  HAL_TIM_Base_Start(&htim2);

  HAL_ADC_Start_DMA(&hadc1, (uint32_t*)adcBuffer, ADC_BUFFER_SIZE);

  // Bufor na odebrane dane
  char inputBuffer[FRAME_MAX_LENGTH];
  uint16_t receivedLength;

  sendFrameResponse("\r\nSystem Started\r\n", 18, TERMINAL);
  /* USER CODE END 2 */

  /* Infinite loop */
  while (1)
  {

    /* USER CODE BEGIN 3 */
	  // Jeśli odebrano kompletną linię
	  if((receivedLength = readUsartLine(inputBuffer)) > 0) {
		  processReceivedLine(inputBuffer, receivedLength);
	  }
  }
  /* USER CODE END 3 */
}

void SystemClock_Config(void)
{
  RCC_OscInitTypeDef RCC_OscInitStruct = {0};
  RCC_ClkInitTypeDef RCC_ClkInitStruct = {0};

  /** Configure the main internal regulator output voltage
  */
  __HAL_RCC_PWR_CLK_ENABLE();
  __HAL_PWR_VOLTAGESCALING_CONFIG(PWR_REGULATOR_VOLTAGE_SCALE3);

  /** Initializes the RCC Oscillators according to the specified parameters
  * in the RCC_OscInitTypeDef structure.
  */
  RCC_OscInitStruct.OscillatorType = RCC_OSCILLATORTYPE_HSI;
  RCC_OscInitStruct.HSIState = RCC_HSI_ON;
  RCC_OscInitStruct.HSICalibrationValue = RCC_HSICALIBRATION_DEFAULT;
  RCC_OscInitStruct.PLL.PLLState = RCC_PLL_ON;
  RCC_OscInitStruct.PLL.PLLSource = RCC_PLLSOURCE_HSI;
  RCC_OscInitStruct.PLL.PLLM = 16;
  RCC_OscInitStruct.PLL.PLLN = 336;
  RCC_OscInitStruct.PLL.PLLP = RCC_PLLP_DIV4;
  RCC_OscInitStruct.PLL.PLLQ = 2;
  RCC_OscInitStruct.PLL.PLLR = 2;
  if (HAL_RCC_OscConfig(&RCC_OscInitStruct) != HAL_OK)
  {
    Error_Handler();
  }

  /** Initializes the CPU, AHB and APB buses clocks
  */
  RCC_ClkInitStruct.ClockType = RCC_CLOCKTYPE_HCLK|RCC_CLOCKTYPE_SYSCLK
                              |RCC_CLOCKTYPE_PCLK1|RCC_CLOCKTYPE_PCLK2;
  RCC_ClkInitStruct.SYSCLKSource = RCC_SYSCLKSOURCE_PLLCLK;
  RCC_ClkInitStruct.AHBCLKDivider = RCC_SYSCLK_DIV1;
  RCC_ClkInitStruct.APB1CLKDivider = RCC_HCLK_DIV2;
  RCC_ClkInitStruct.APB2CLKDivider = RCC_HCLK_DIV1;

  if (HAL_RCC_ClockConfig(&RCC_ClkInitStruct, FLASH_LATENCY_2) != HAL_OK)
  {
    Error_Handler();
  }
}

static void MX_ADC1_Init(void)
{

  ADC_ChannelConfTypeDef sConfig = {0};

  /** Configure the global features of the ADC (Clock, Resolution, Data Alignment and number of conversion)
  */
  hadc1.Instance = ADC1;
  hadc1.Init.ClockPrescaler = ADC_CLOCK_SYNC_PCLK_DIV4;
  hadc1.Init.Resolution = ADC_RESOLUTION_12B;
  hadc1.Init.ScanConvMode = ENABLE;
  hadc1.Init.ContinuousConvMode = DISABLE;
  hadc1.Init.DiscontinuousConvMode = DISABLE;
  hadc1.Init.ExternalTrigConvEdge = ADC_EXTERNALTRIGCONVEDGE_RISING;
  hadc1.Init.ExternalTrigConv = ADC_EXTERNALTRIGCONV_T2_TRGO;
  hadc1.Init.DataAlign = ADC_DATAALIGN_RIGHT;
  hadc1.Init.NbrOfConversion = 1;
  hadc1.Init.DMAContinuousRequests = DISABLE;
  hadc1.Init.EOCSelection = ADC_EOC_SINGLE_CONV;
  if (HAL_ADC_Init(&hadc1) != HAL_OK)
  {
    Error_Handler();
  }

  /** Configure for the selected ADC regular channel its corresponding rank in the sequencer and its sample time.
  */
  sConfig.Channel = ADC_CHANNEL_1;
  sConfig.Rank = 1;
  sConfig.SamplingTime = ADC_SAMPLETIME_3CYCLES;
  if (HAL_ADC_ConfigChannel(&hadc1, &sConfig) != HAL_OK)
  {
    Error_Handler();
  }

}

static void MX_SPI2_Init(void)
{

  /* SPI2 parameter configuration*/
  hspi2.Instance = SPI2;
  hspi2.Init.Mode = SPI_MODE_MASTER;
  hspi2.Init.Direction = SPI_DIRECTION_2LINES;
  hspi2.Init.DataSize = SPI_DATASIZE_8BIT;
  hspi2.Init.CLKPolarity = SPI_POLARITY_LOW;
  hspi2.Init.CLKPhase = SPI_PHASE_1EDGE;
  hspi2.Init.NSS = SPI_NSS_SOFT;
  hspi2.Init.BaudRatePrescaler = SPI_BAUDRATEPRESCALER_128;
  hspi2.Init.FirstBit = SPI_FIRSTBIT_MSB;
  hspi2.Init.TIMode = SPI_TIMODE_DISABLE;
  hspi2.Init.CRCCalculation = SPI_CRCCALCULATION_DISABLE;
  hspi2.Init.CRCPolynomial = 10;
  if (HAL_SPI_Init(&hspi2) != HAL_OK)
  {
    Error_Handler();
  }

}

static void MX_TIM2_Init(void)
{

  TIM_ClockConfigTypeDef sClockSourceConfig = {0};
  TIM_MasterConfigTypeDef sMasterConfig = {0};

  htim2.Instance = TIM2;
  htim2.Init.Prescaler = 0;
  htim2.Init.CounterMode = TIM_COUNTERMODE_UP;
  htim2.Init.Period = 10499;
  htim2.Init.ClockDivision = TIM_CLOCKDIVISION_DIV1;
  htim2.Init.AutoReloadPreload = TIM_AUTORELOAD_PRELOAD_ENABLE;
  if (HAL_TIM_Base_Init(&htim2) != HAL_OK)
  {
    Error_Handler();
  }
  sClockSourceConfig.ClockSource = TIM_CLOCKSOURCE_INTERNAL;
  if (HAL_TIM_ConfigClockSource(&htim2, &sClockSourceConfig) != HAL_OK)
  {
    Error_Handler();
  }
  sMasterConfig.MasterOutputTrigger = TIM_TRGO_UPDATE;
  sMasterConfig.MasterSlaveMode = TIM_MASTERSLAVEMODE_DISABLE;
  if (HAL_TIMEx_MasterConfigSynchronization(&htim2, &sMasterConfig) != HAL_OK)
  {
    Error_Handler();
  }

}

static void MX_USART2_UART_Init(void)
{

  huart2.Instance = USART2;
  huart2.Init.BaudRate = 115200;
  huart2.Init.WordLength = UART_WORDLENGTH_8B;
  huart2.Init.StopBits = UART_STOPBITS_1;
  huart2.Init.Parity = UART_PARITY_NONE;
  huart2.Init.Mode = UART_MODE_TX_RX;
  huart2.Init.HwFlowCtl = UART_HWCONTROL_NONE;
  huart2.Init.OverSampling = UART_OVERSAMPLING_16;
  if (HAL_UART_Init(&huart2) != HAL_OK)
  {
    Error_Handler();
  }

}

static void MX_DMA_Init(void)
{

  /* DMA controller clock enable */
  __HAL_RCC_DMA2_CLK_ENABLE();

  /* DMA interrupt init */
  /* DMA2_Stream0_IRQn interrupt configuration */
  HAL_NVIC_SetPriority(DMA2_Stream0_IRQn, 0, 0);
  HAL_NVIC_EnableIRQ(DMA2_Stream0_IRQn);

}

static void MX_GPIO_Init(void)
{
  GPIO_InitTypeDef GPIO_InitStruct = {0};

  /* GPIO Ports Clock Enable */
  __HAL_RCC_GPIOC_CLK_ENABLE();
  __HAL_RCC_GPIOH_CLK_ENABLE();
  __HAL_RCC_GPIOA_CLK_ENABLE();
  __HAL_RCC_GPIOB_CLK_ENABLE();

  /*Configure GPIO pin Output Level */
  HAL_GPIO_WritePin(LD2_GPIO_Port, LD2_Pin, GPIO_PIN_RESET);

  /*Configure GPIO pin Output Level */
  HAL_GPIO_WritePin(SD_CS_GPIO_Port, SD_CS_Pin, GPIO_PIN_RESET);

  /*Configure GPIO pin : B1_Pin */
  GPIO_InitStruct.Pin = B1_Pin;
  GPIO_InitStruct.Mode = GPIO_MODE_IT_FALLING;
  GPIO_InitStruct.Pull = GPIO_NOPULL;
  HAL_GPIO_Init(B1_GPIO_Port, &GPIO_InitStruct);

  /*Configure GPIO pin : LD2_Pin */
  GPIO_InitStruct.Pin = LD2_Pin;
  GPIO_InitStruct.Mode = GPIO_MODE_OUTPUT_PP;
  GPIO_InitStruct.Pull = GPIO_NOPULL;
  GPIO_InitStruct.Speed = GPIO_SPEED_FREQ_LOW;
  HAL_GPIO_Init(LD2_GPIO_Port, &GPIO_InitStruct);

  /*Configure GPIO pin : SD_CS_Pin */
  GPIO_InitStruct.Pin = SD_CS_Pin;
  GPIO_InitStruct.Mode = GPIO_MODE_OUTPUT_PP;
  GPIO_InitStruct.Pull = GPIO_NOPULL;
  GPIO_InitStruct.Speed = GPIO_SPEED_FREQ_LOW;
  HAL_GPIO_Init(SD_CS_GPIO_Port, &GPIO_InitStruct);

}

void Error_Handler(void)
{
  __disable_irq();
  while (1)
  {
  }
}
